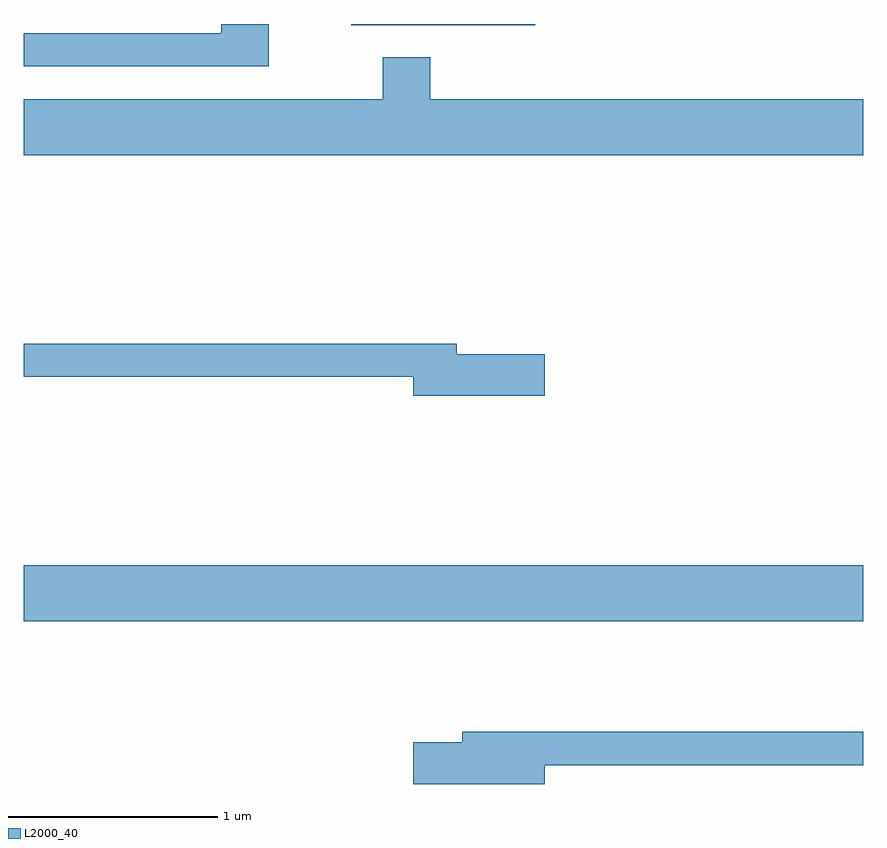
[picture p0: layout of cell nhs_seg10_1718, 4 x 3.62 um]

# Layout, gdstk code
import gdstk
lib = gdstk.Library(unit=1e-6, precision=1e-09)
def R(c, l, rs):  # rectangles x0, y0, x1, y1
    for r in rs: c.add(gdstk.rectangle(r[:2], r[2:], *l))
def P(c, l, *ps):  # polygons
    for p in ps: c.add(gdstk.Polygon(p, *l))
L2000_40 = (2000, 40)

nhs_seg10_1718 = lib.new_cell('nhs_seg10_1718')
R(nhs_seg10_1718, L2000_40, [(235.611,2131.676,239.611,2131.944), (237.171,2134.516,238.048,2134.522)])
P(nhs_seg10_1718, L2000_40, [(236.779,2134.522),(236.551,2134.522),(236.551,2134.479),(235.611,2134.479),(235.611,2134.321),(236.779,2134.321)],
  [(239.611,2134.164),(237.549,2134.164),(237.549,2134.364),(237.321,2134.364),(237.321,2134.164),(235.611,2134.164),(235.611,2133.896),(239.611,2133.896)],
  [(238.094,2132.949),(237.674,2132.949),(237.674,2132.999),(235.611,2132.999),(235.611,2132.841),(237.466,2132.841),(237.466,2132.751),(238.094,2132.751)],
  [(238.094,2130.991),(239.611,2130.991),(239.611,2131.149),(237.701,2131.149),(237.701,2131.099),(237.466,2131.099),(237.466,2130.901),(238.094,2130.901)])

lib.write_gds('nhs_seg10_1718.gds')
